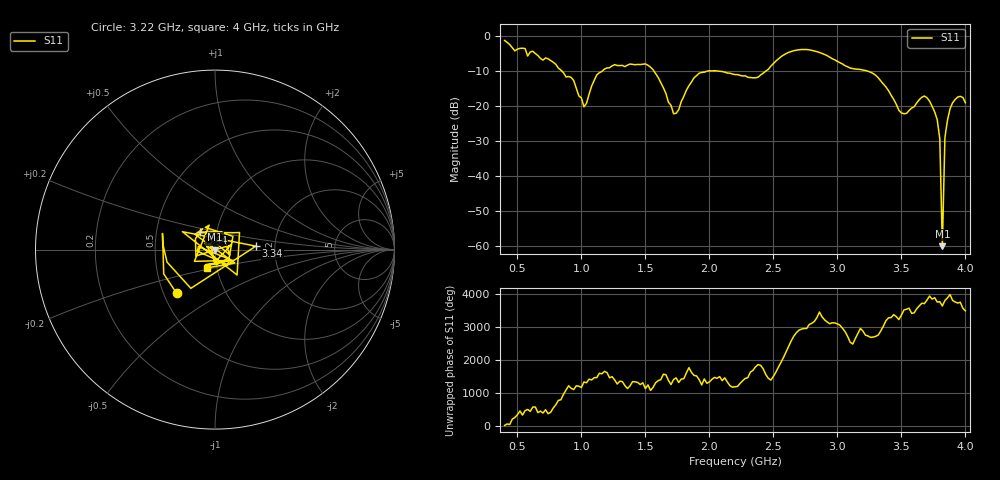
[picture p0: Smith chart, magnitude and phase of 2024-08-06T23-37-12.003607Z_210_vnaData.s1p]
!Created with skrf (http://scikit-rf.org).
# Hz S RI R 50.0
!freq ReS11 ImS11
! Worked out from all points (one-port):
!   181 points, 400 MHz to 4 GHz, reference 50 ohm
!   lowest |S11| = -60.0 dB at 3.82 GHz (marker M1), VSWR 1.00, Z = 50.1 + j0.0519 ohm
!   |S11| at or under -10 dB: 1.568 GHz to 1.981 GHz (413.4 MHz wide, 23.3 % of centre); 2.078 GHz to 2.439 GHz (361.1 MHz wide, 16 % of centre); 3.24 GHz to end of sweep (the widest 3 of 4)
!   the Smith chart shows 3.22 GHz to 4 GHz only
!   S11 on the Smith chart (normalised r, x): 3.22 GHz: 0.58, -0.32; 3.34 GHz: 1.59, +0.06; 3.44 GHz: 0.84, +0.16; 4 GHz: 0.89, -0.19
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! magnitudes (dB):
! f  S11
! 400 MHz  -1.2
! 860 MHz  -10.4
! 940 MHz  -12.7
! 1.02 GHz  -20.2
! 1.12 GHz  -11.1
! 1.3 GHz  -8.4
! 1.52 GHz  -8.3
! 1.6 GHz  -11.8
! 1.72 GHz  -22.1
! 1.76 GHz  -21.0
! 1.92 GHz  -10.6
! 2.2 GHz  -11.0
! 2.38 GHz  -11.7
! 2.66 GHz  -4.1
! 3.1 GHz  -9.1
! 3.22 GHz  -9.8
! 3.34 GHz  -12.8
! 3.44 GHz  -18.0
! 3.5 GHz  -21.9
! 3.56 GHz  -21.2
! 3.68 GHz  -17.1
! 3.78 GHz  -23.8
! 3.8 GHz  -29.3
! 3.82 GHz  -60.0
! 3.84 GHz  -29.0
! 3.86 GHz  -24.0
! 3.92 GHz  -18.1
! 4 GHz  -19.0
